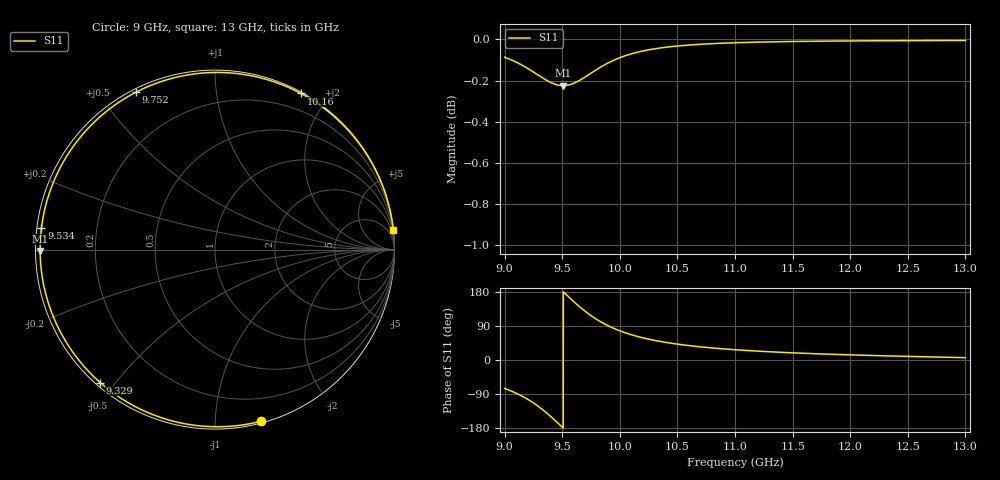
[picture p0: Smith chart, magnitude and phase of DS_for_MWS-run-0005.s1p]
! TOUCHSTONE file generated by CST DESIGN STUDIO
! Date and time: Tue Feb  4 17:50:48 2025
! Project name: C:\Work\MatlabApps\UnitCellOptimizationMatlab\CST\unitcell.cst
! Tree item: Tasks\Sweep1\SPara1\S-Parameters
! Header version: 2024
! Port assignment regex: !\s*Touchstone port\s*([0-9]+)\s*=\s*(CST MWS port|CST DES external port|CST DES block port)\s*(.+)\s* \(\"(.*)\"\)(\s*mode\s*([0-9]+))?.*
! Touchstone port assignment:
! Touchstone port 1 = CST DES external port 1 ("")
# GHz S MA R 50
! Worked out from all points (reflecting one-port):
!   4001 points, 9 GHz to 13 GHz, reference 50 ohm
!   lowest |S11| = -0.2 dB at 9.508 GHz (marker M1), VSWR 77.29, Z = 0.647 - j0.193 ohm
!   phase of S11 starts at -75 deg and turns -279 deg over the sweep
!   S11 on the Smith chart (normalised r, x): 9 GHz: 0.01, -1.30; 9.329 GHz: 0.01, -0.46; 9.534 GHz: 0.01, +0.06; 9.752 GHz: 0.01, +0.62; 10.16 GHz: 0.01, +1.69; 13 GHz: 0, +19
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9  0.9901 -75.0
9.087  0.9878 -85.7
9.19  0.9843 -101.8
9.262  0.9814 -115.7
9.329  0.9787 -130.8
9.375  0.977 -142.3
9.423  0.9756 -155.2
9.462  0.9748 -166.3
9.5  0.9745 -177.2
9.508  0.9745 -179.6
9.534  0.9746 172.9
9.588  0.9754 157.5
9.648  0.9772 141.3
9.699  0.9792 128.6
9.752  0.9814 116.7
9.804  0.9835 106.3
9.86  0.9856 96.4
10  0.9898 77.0
10.079  0.9916 68.7
10.165  0.993 61.2
10.317  0.9949 50.9
10.5  0.9963 41.9
10.722  0.9974 34.1
11  0.9981 27.1
11.5  0.9988 18.9
12  0.9992 13.5
12.5  0.9993 9.5
13  0.9994 6.2
